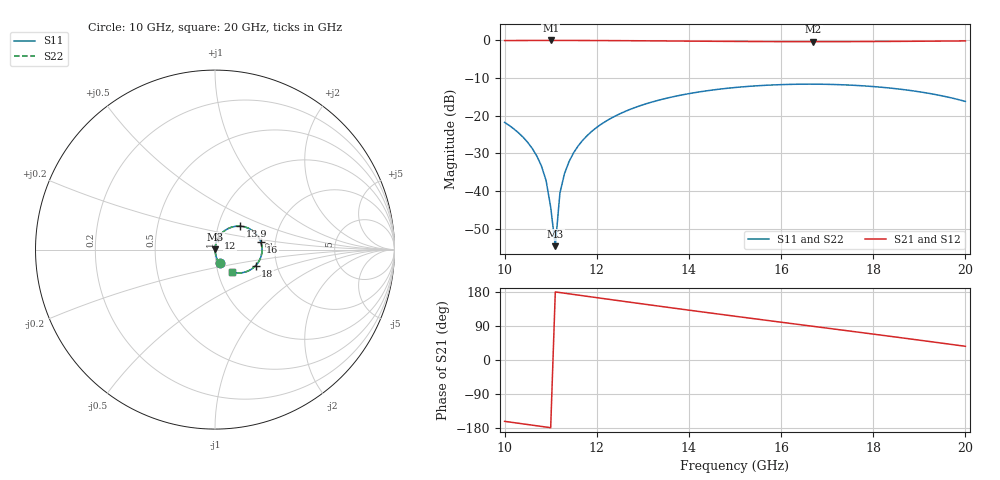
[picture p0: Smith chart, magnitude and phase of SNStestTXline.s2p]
! Touchstone file from project SNStest
! Exported from Ansoft
# GHZ S MA R 50.000000
! Modal data exported
! Port[1] = Port1
! Port[2] = Port2
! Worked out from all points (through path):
!   101 points, 10 GHz to 20 GHz, reference 50 ohm
!   highest |S21| = -0.03 dB at 11 GHz (marker M1); lowest = -0.3 dB at 16.7 GHz (marker M2)
!   group delay of S21, straight-line fit = 44.7 ps
!   lowest |S11| = -54.6 dB at 11.1 GHz (marker M3), VSWR 1.00, Z = 50.1 + j0.164 ohm
!   |S11| at or under -10 dB: start of sweep to end of sweep
!   |S22| runs from -54.6 to -11.6 dB; largest |S21 - S12| = 8e-15
!   S11 on the Smith chart (normalised r, x): 10 GHz: 1.04, -0.16; 12 GHz: 1.03, +0.14; 13.9 GHz: 1.27, +0.34; 16 GHz: 1.67, +0.16; 18 GHz: 1.55, -0.29; 20 GHz: 1.16, -0.30
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10  0.08155 -71.3  0.9937 -161.9  0.9937 -161.9  0.08155 -71.3
10.4  0.0519 -77.6  0.9955 -168.6  0.9955 -168.6  0.0519 -77.6
10.7  0.02912 -81.9  0.9964 -173.6  0.9964 -173.6  0.02912 -81.9
10.8  0.02146 -83.0  0.9966 -175.3  0.9966 -175.3  0.02146 -83.0
10.9  0.01378 -83.4  0.9967 -177.0  0.9967 -177.0  0.01378 -83.4
11  0.006118 -80.6  0.9967 -178.7  0.9967 -178.7  0.006118 -80.6
11.1  0.001855 62.2  0.9967 179.6  0.9967 179.6  0.001855 62.2
11.2  0.009386 82.8  0.9967 178.0  0.9967 178.0  0.009386 82.8
11.3  0.01706 83.4  0.9965 176.3  0.9965 176.3  0.01706 83.4
11.4  0.02473 82.6  0.9964 174.6  0.9964 174.6  0.02473 82.6
11.5  0.03238 81.4  0.9961 172.9  0.9961 172.9  0.03238 81.4
11.7  0.04757 78.6  0.9955 169.6  0.9955 169.6  0.04757 78.6
12  0.07 73.9  0.9941 164.5  0.9941 164.5  0.07 73.9
12.6  0.1129 64.2  0.99 154.5  0.99 154.5  0.1129 64.2
13.4  0.1639 51.1  0.9828 141.3  0.9828 141.3  0.1639 51.1
13.9  0.1913 43.0  0.9777 133.2  0.9777 133.2  0.1913 43.0
15  0.2366 25.5  0.9676 115.5  0.9676 115.5  0.2366 25.5
16  0.2584 9.8  0.9618 99.7  0.9618 99.7  0.2584 9.8
16.7  0.2621 -1.1  0.9607 88.8  0.9607 88.8  0.2621 -1.1
18  0.2436 -21.5  0.9652 68.3  0.9652 68.3  0.2436 -21.5
18.4  0.2314 -27.8  0.968 62.0  0.968 62.0  0.2314 -27.8
20  0.1545 -53.4  0.9828 36.1  0.9828 36.1  0.1545 -53.4
